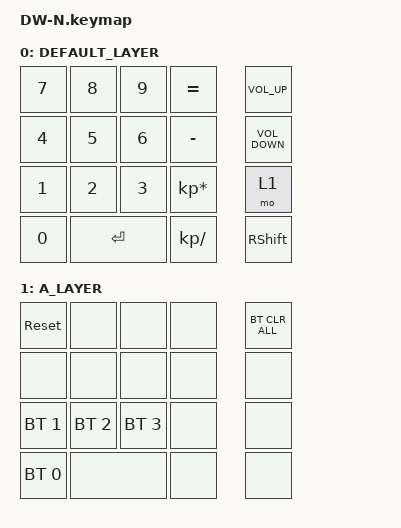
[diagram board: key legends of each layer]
#include <behaviors.dtsi>
#include <dt-bindings/zmk/bt.h>
#include <dt-bindings/zmk/keys.h>

#define DEFAULT_LAYER   0
#define A_LAYER   1

/ {
    keymap {
        compatible = "zmk,keymap";

        DEFAULT_LAYER {
            bindings = <
&kp N7     &kp N8     &kp N9     &kp EQUAL           &kp C_VOLUME_UP
&kp N4     &kp N5     &kp N6     &kp MINUS           &kp C_VOLUME_DOWN
&kp N1     &kp N2     &kp N3     &kp KP_MULTIPLY     &mo 1
&kp N0     &kp RET                &kp KP_DIVIDE      &kp RSHIFT
            >;
        };

        A_LAYER {
            bindings = <
&sys_reset            &none            &none            &none     &bt BT_CLR_ALL
&none                 &none            &none            &none     &none
&bt BT_SEL 1          &bt BT_SEL 2     &bt BT_SEL 3     &none     &none
&bt BT_SEL 0          &none                             &none     &none 
            >;
        };
    };
};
